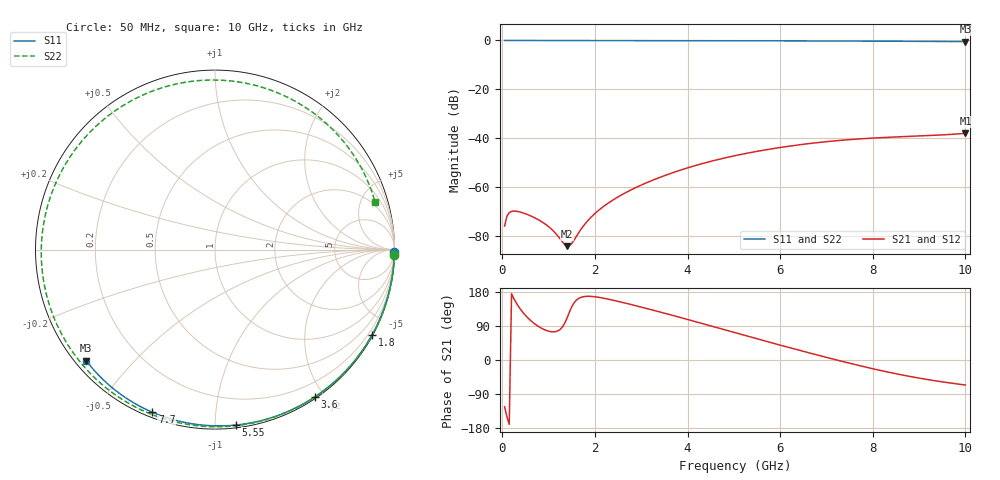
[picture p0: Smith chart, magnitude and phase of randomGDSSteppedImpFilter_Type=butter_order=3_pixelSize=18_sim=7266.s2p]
! freq	dB(S11)	phase(S11)	dB(S12)	phase(S12)
!  dB(S21)	phase(S21)	dB(S22)	phase(S22)
!S-par simulation data
#  GHz  S  DB  R 50
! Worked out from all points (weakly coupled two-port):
!   200 points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, 50 MHz to 10 GHz, reference 50 ohm
!   highest |S21| = -38.02 dB at 10 GHz (marker M1); lowest = -84.2 dB at 1.4 GHz (marker M2)
!   lowest |S11| = -0.5 dB at 10 GHz (marker M3), VSWR 36.93, Z = 1.54 - j18.6 ohm
!   |S11| at or under -10 dB: nowhere
!   |S22| runs from -0.6 to 0.0 dB; largest |S21 - S12| = 0
!   S11 on the Smith chart (normalised r, x): 50 MHz: open; 1.8 GHz: 0.03, -3.93; 3.6 GHz: 0.02, -1.89; 5.55 GHz: 0.02, -1.13; 7.7 GHz: 0.02, -0.69; 10 GHz: 0.03, -0.37
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0.05  -0.00 -0.8  -75.97 -123.6  -75.97 -123.6  -0.00 -1.7
0.1  -0.00 -1.6  -71.90 -150.1  -71.90 -150.1  -0.00 -3.4
0.15  -0.00 -2.4  -70.51 -169.8  -70.51 -169.8  -0.00 -5.2
0.3  -0.01 -4.8  -69.92 151.0  -69.92 151.0  -0.00 -10.3
0.8  -0.02 -12.8  -73.63 87.1  -73.63 87.1  -0.03 -27.3
1.2  -0.02 -19.2  -80.07 76.8  -80.07 76.8  -0.05 -40.7
1.4  -0.03 -22.3  -84.22 111.3  -84.22 111.3  -0.06 -47.3
1.6  -0.03 -25.4  -80.19 158.0  -80.19 158.0  -0.07 -53.8
1.75  -0.04 -27.8  -75.99 167.0  -75.99 167.0  -0.07 -58.7
1.8  -0.04 -28.6  -74.80 167.9  -74.80 167.9  -0.08 -60.3
2.4  -0.05 -37.8  -65.19 157.6  -65.19 157.6  -0.10 -79.3
3.4  -0.07 -52.8  -56.07 126.9  -56.07 126.9  -0.14 -109.9
3.6  -0.08 -55.8  -54.68 120.3  -54.68 120.3  -0.15 -115.9
4.35  -0.09 -66.6  -50.25 95.1  -50.25 95.1  -0.19 -138.1
5.05  -0.12 -76.4  -47.07 71.1  -47.07 71.1  -0.23 -159.0
5.55  -0.14 -83.2  -45.23 54.2  -45.23 54.2  -0.27 -174.2
6.15  -0.16 -91.2  -43.41 34.3  -43.41 34.3  -0.32 166.7
6.7  -0.19 -98.4  -42.05 16.5  -42.05 16.5  -0.36 148.3
7.7  -0.25 -111.0  -40.32 -14.5  -40.32 -14.5  -0.45 111.9
8.35  -0.30 -119.1  -39.64 -32.5  -39.64 -32.5  -0.50 86.0
9.1  -0.37 -128.3  -39.04 -49.9  -39.04 -49.9  -0.55 54.6
10  -0.47 -139.2  -38.02 -66.0  -38.02 -66.0  -0.62 16.6
